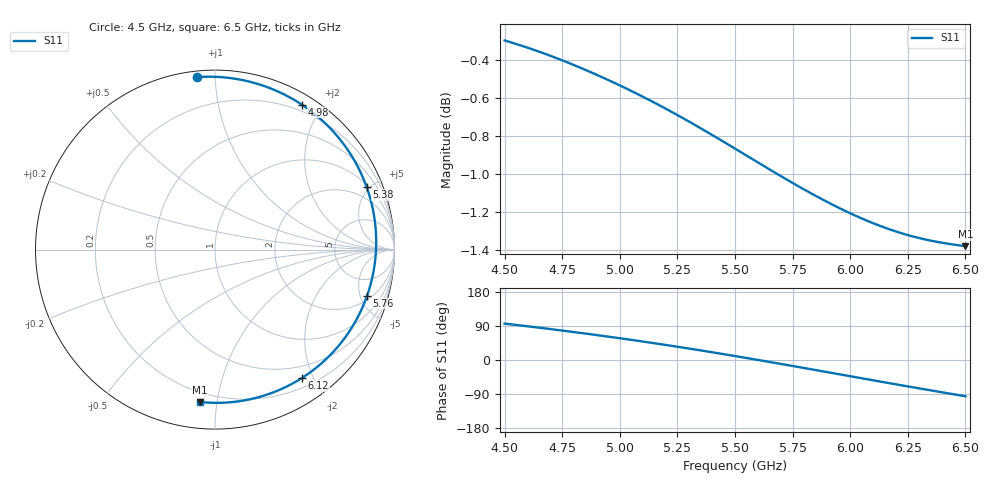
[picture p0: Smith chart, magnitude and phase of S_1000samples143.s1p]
! TOUCHSTONE file generated by CST MICROWAVE STUDIO
! Date and time: Thu Oct 27 03:42:59 2022
! Project name: L.cst
! Parameters = {Di=1.27; Epsilon_r=1.56; InnerDiameter=1.27; Length=2; Lf=10; Lg=60; OuterConductorThickness=0.2921; OuterDiameter=3.6; Wf=3; Wp=41.2; de=1.5; df=6.8; g=0.8; gx=4.83283; gy=3.58285; h=2.34; hf=1.524; px=9.9009; py=11.6474; w=9.7; wx=5.06806; wy=8.06455}
! Header version: 2018
! Port assignment regex: !\s*Touchstone port\s*([0-9]+)\s*=\s*(CST MWS port|CST DS port)\s*([0-9]+|Zmin|Zmax)\s*\(\"(.*)\"\)(\s*mode\s*([0-9]+))?.*
! Touchstone port assignment:
! Touchstone port 1 = CST MWS port 1 ("")
# GHz S DB R 50
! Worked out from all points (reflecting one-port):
!   101 points, 4.5 GHz to 6.5 GHz, reference 50 ohm
!   lowest |S11| = -1.4 dB at 6.5 GHz (marker M1), VSWR 12.59, Z = 7.19 - j44.8 ohm
!   phase of S11 starts at 96 deg and turns -192 deg over the sweep
!   S11 on the Smith chart (normalised r, x): 4.5 GHz: 0.03, +0.90; 4.98 GHz: 0.12, +1.76; 5.38 GHz: 1.13, +4.78; 5.76 GHz: 2.42, -5.76; 6.12 GHz: 0.33, -1.84; 6.5 GHz: 0.14, -0.90
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4.5  -0.30 96.0
4.64  -0.35 86.0
4.76  -0.41 76.9
4.88  -0.47 67.4
4.98  -0.52 59.1
5  -0.54 57.4
5.12  -0.61 46.9
5.18  -0.65 41.5
5.26  -0.70 34.0
5.38  -0.78 22.5
5.44  -0.82 16.5
5.5  -0.87 10.4
5.58  -0.93 2.2
5.64  -0.97 -4.1
5.7  -1.01 -10.4
5.76  -1.06 -16.8
5.82  -1.10 -23.3
5.88  -1.14 -29.8
5.94  -1.17 -36.3
6  -1.21 -42.8
6.06  -1.24 -49.3
6.12  -1.27 -55.8
6.2  -1.31 -64.3
6.26  -1.33 -70.7
6.32  -1.35 -77.0
6.38  -1.36 -83.3
6.44  -1.37 -89.5
6.5  -1.38 -95.7
